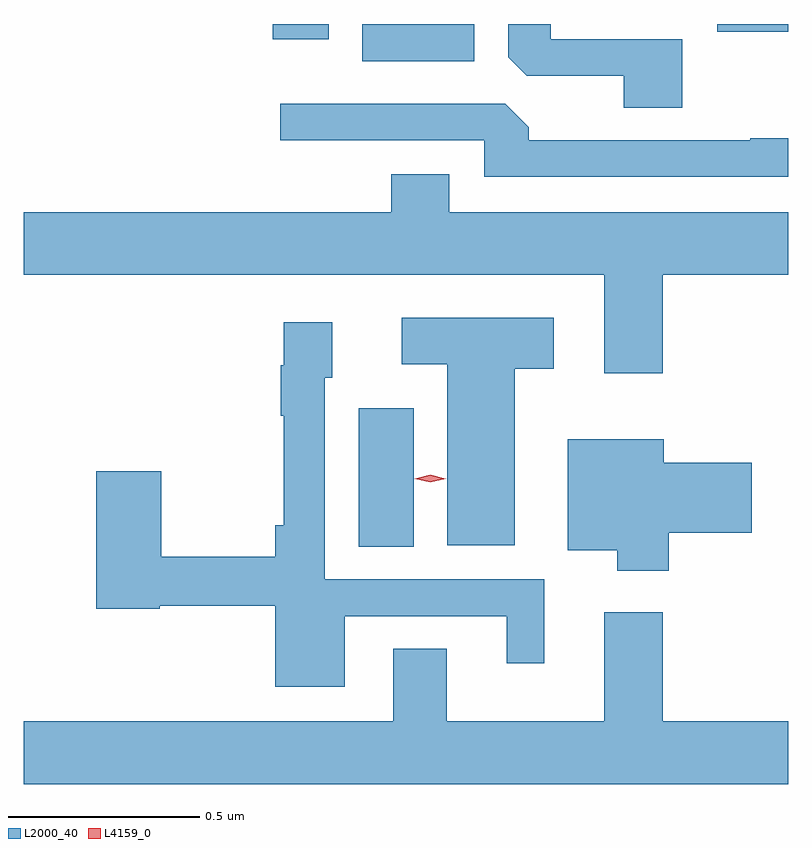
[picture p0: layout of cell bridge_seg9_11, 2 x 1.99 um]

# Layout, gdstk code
import gdstk
lib = gdstk.Library(unit=1e-6, precision=1e-09)
def R(c, l, rs):  # rectangles x0, y0, x1, y1
    for r in rs: c.add(gdstk.rectangle(r[:2], r[2:], *l))
def P(c, l, *ps):  # polygons
    for p in ps: c.add(gdstk.Polygon(p, *l))
L2000_40 = (2000, 40)
L4159_0 = (4159, 0)

bridge_seg9_11 = lib.new_cell('bridge_seg9_11')
R(bridge_seg9_11, L2000_40, [(1001.849,1234.336,1001.992,1234.699), (1001.858,1235.606,1002.151,1235.704), (1001.624,1235.664,1001.77,1235.704), (1002.786,1235.684,1002.972,1235.704)])
P(bridge_seg9_11, L2000_40, [(1002.695,1235.664),(1002.351,1235.664),(1002.351,1235.704),(1002.239,1235.704),(1002.239,1235.617),(1002.288,1235.568),(1002.542,1235.568),(1002.542,1235.485),(1002.695,1235.485)],
  [(1002.972,1235.405),(1002.872,1235.405),(1002.872,1235.4),(1002.293,1235.4),(1002.293,1235.434),(1002.231,1235.496),(1001.643,1235.496),(1001.643,1235.4),(1002.177,1235.4),(1002.177,1235.304),(1002.972,1235.304)],
  [(1002.644,1235.048),(1002.972,1235.048),(1002.972,1235.212),(1002.085,1235.212),(1002.085,1235.311),(1001.933,1235.311),(1001.933,1235.212),(1000.972,1235.212),(1000.972,1235.048),(1002.491,1235.048),(1002.491,1234.791),(1002.644,1234.791)],
  [(1002.256,1234.802),(1002.358,1234.802),(1002.358,1234.936),(1001.961,1234.936),(1001.961,1234.814),(1002.08,1234.814),(1002.08,1234.34),(1002.256,1234.34)],
  [(1001.812,1234.155),(1002.236,1234.155),(1002.236,1234.032),(1002.334,1234.032),(1002.334,1234.251),(1001.76,1234.251),(1001.76,1234.779),(1001.779,1234.779),(1001.779,1234.924),(1001.652,1234.924),(1001.652,1234.811),(1001.644,1234.811),(1001.644,1234.679),(1001.652,1234.679),(1001.652,1234.393),(1001.63,1234.393),(1001.63,1234.31),(1001.332,1234.31),(1001.332,1234.534),(1001.162,1234.534),(1001.162,1234.174),(1001.328,1234.174),(1001.328,1234.182),(1001.63,1234.182),(1001.63,1233.971),(1001.812,1233.971)],
  [(1002.659,1234.373),(1002.877,1234.373),(1002.877,1234.556),(1002.646,1234.556),(1002.646,1234.618),(1002.395,1234.618),(1002.395,1234.328),(1002.524,1234.328),(1002.524,1234.274),(1002.659,1234.274)],
  [(1002.972,1233.88),(1002.644,1233.88),(1002.644,1234.165),(1002.491,1234.165),(1002.491,1233.88),(1002.079,1233.88),(1002.079,1234.07),(1001.939,1234.07),(1001.939,1233.88),(1000.972,1233.88),(1000.972,1233.716),(1002.972,1233.716)])
P(bridge_seg9_11, L4159_0, [(1002.035,1234.505),(1001.995,1234.515),(1001.995,1234.515),(1001.995,1234.515),(1002.035,1234.525),(1002.076,1234.515),(1002.076,1234.515),(1002.076,1234.515)])

lib.write_gds('bridge_seg9_11.gds')
